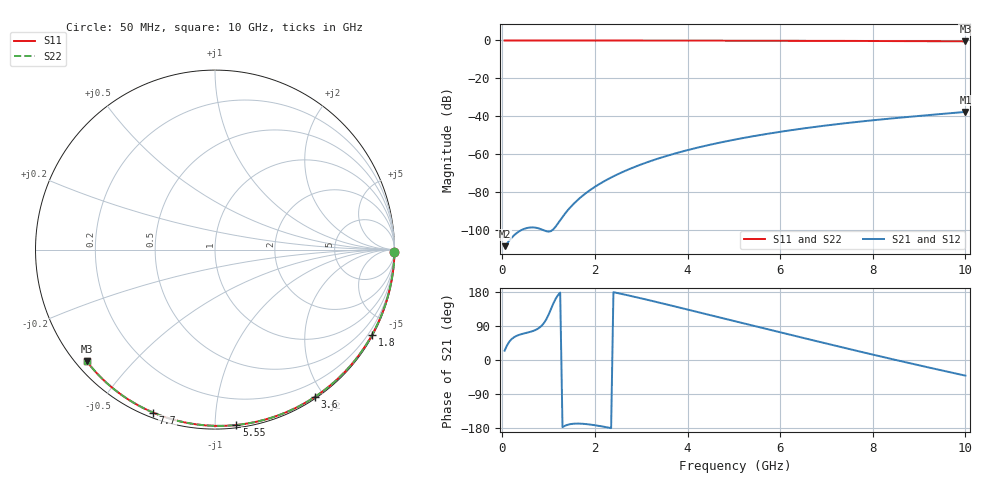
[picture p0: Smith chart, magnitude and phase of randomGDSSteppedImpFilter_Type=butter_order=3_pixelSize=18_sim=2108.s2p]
! freq	dB(S11)	phase(S11)	dB(S12)	phase(S12)
!  dB(S21)	phase(S21)	dB(S22)	phase(S22)
!S-par simulation data
#  GHz  S  DB  R 50
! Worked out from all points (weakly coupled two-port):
!   200 points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, 50 MHz to 10 GHz, reference 50 ohm
!   highest |S21| = -37.67 dB at 10 GHz (marker M1); lowest = -108.5 dB at 50 MHz (marker M2)
!   lowest |S11| = -0.5 dB at 10 GHz (marker M3), VSWR 37.34, Z = 1.53 - j18.7 ohm
!   |S11| at or under -10 dB: nowhere
!   |S22| runs from -0.5 to 0.0 dB; largest |S21 - S12| = 0
!   S11 on the Smith chart (normalised r, x): 50 MHz: open; 1.8 GHz: 0.03, -3.93; 3.6 GHz: 0.02, -1.89; 5.55 GHz: 0.02, -1.13; 7.7 GHz: 0.02, -0.69; 10 GHz: 0.03, -0.37
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0.05  -0.00 -0.8  -108.49 24.6  -108.49 24.6  -0.00 -0.8
0.45  -0.01 -7.2  -99.58 69.5  -99.58 69.5  -0.01 -7.2
0.9  -0.02 -14.4  -100.15 97.6  -100.15 97.6  -0.02 -14.4
1.75  -0.04 -27.8  -81.58 -168.5  -81.58 -168.5  -0.04 -27.8
1.8  -0.04 -28.5  -80.62 -169.0  -80.62 -169.0  -0.04 -28.5
1.85  -0.04 -29.3  -79.71 -169.6  -79.71 -169.6  -0.04 -29.3
2  -0.04 -31.6  -77.20 -172.1  -77.20 -172.1  -0.04 -31.6
2.15  -0.04 -33.9  -74.94 -175.2  -74.94 -175.2  -0.04 -34.0
2.35  -0.05 -37.0  -72.27 -179.8  -72.27 -179.8  -0.05 -37.0
2.55  -0.05 -40.1  -69.90 175.1  -69.90 175.1  -0.05 -40.1
2.95  -0.06 -46.1  -65.82 164.1  -65.82 164.1  -0.06 -46.1
3.4  -0.07 -52.8  -62.01 151.1  -62.01 151.1  -0.07 -52.8
3.6  -0.08 -55.7  -60.52 145.1  -60.52 145.1  -0.08 -55.7
4.3  -0.09 -65.8  -56.03 124.1  -56.03 124.1  -0.09 -65.8
5.05  -0.12 -76.3  -52.15 101.6  -52.15 101.6  -0.12 -76.3
5.55  -0.14 -83.1  -49.95 86.6  -49.95 86.6  -0.14 -83.1
6.1  -0.16 -90.4  -47.81 70.1  -47.81 70.1  -0.16 -90.4
6.7  -0.19 -98.2  -45.75 52.3  -45.75 52.3  -0.19 -98.2
7.7  -0.25 -110.8  -42.86 22.9  -42.86 22.9  -0.25 -110.9
8.35  -0.30 -118.9  -41.26 4.2  -41.26 4.2  -0.30 -118.9
9.2  -0.38 -129.2  -39.38 -19.5  -39.38 -19.5  -0.38 -129.3
10  -0.47 -138.9  -37.67 -41.3  -37.67 -41.3  -0.47 -139.0
